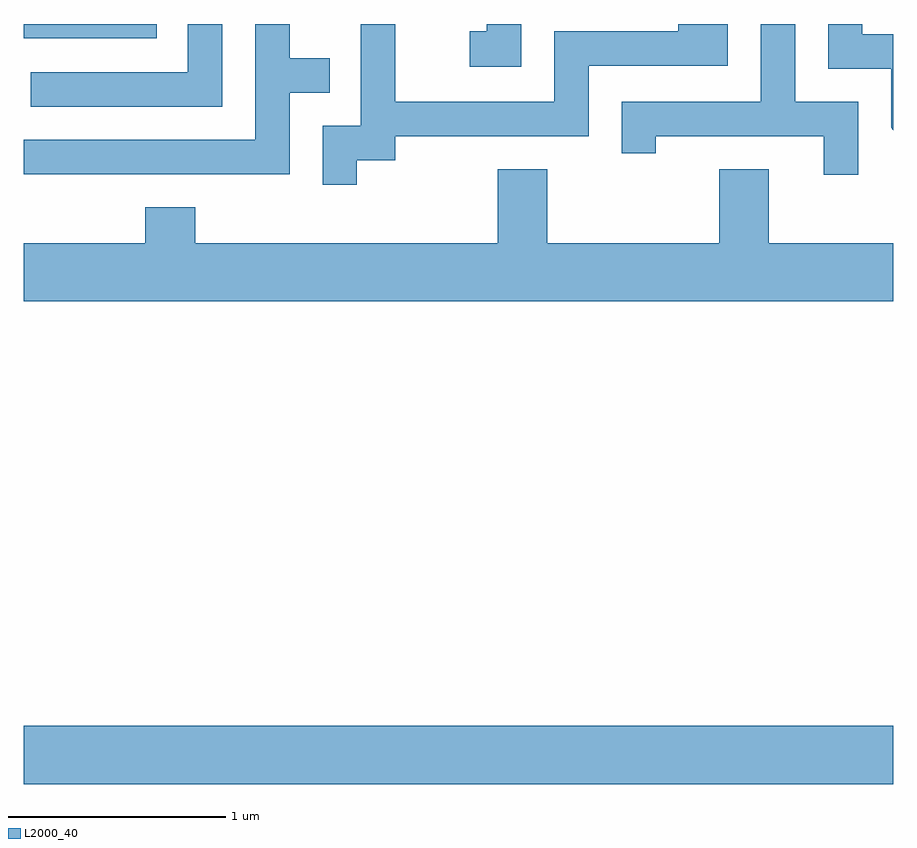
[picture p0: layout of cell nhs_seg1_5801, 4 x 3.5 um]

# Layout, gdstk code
import gdstk
lib = gdstk.Library(unit=1e-6, precision=1e-09)
def R(c, l, rs):  # rectangles x0, y0, x1, y1
    for r in rs: c.add(gdstk.rectangle(r[:2], r[2:], *l))
def P(c, l, *ps):  # polygons
    for p in ps: c.add(gdstk.Polygon(p, *l))
L2000_40 = (2000, 40)

nhs_seg1_5801 = lib.new_cell('nhs_seg1_5801')
R(nhs_seg1_5801, L2000_40, [(359.611,926.216,363.611,926.484), (359.611,929.646,360.223,929.712)])
P(nhs_seg1_5801, L2000_40, [(361.899,929.712),(361.741,929.712),(361.741,929.679),(361.663,929.679),(361.663,929.516),(361.899,929.516)],
  [(363.449,929.354),(363.159,929.354),(363.159,929.712),(363.001,929.712),(363.001,929.354),(362.361,929.354),(362.361,929.118),(362.519,929.118),(362.519,929.196),(363.291,929.196),(363.291,929.018),(363.449,929.018)],
  [(363.611,929.664),(363.469,929.664),(363.469,929.712),(363.311,929.712),(363.311,929.506),(363.601,929.506),(363.601,929.234),(363.611,929.224)],
  [(360.834,929.396),(361.018,929.396),(361.018,929.554),(360.834,929.554),(360.834,929.712),(360.676,929.712),(360.676,929.179),(359.611,929.179),(359.611,929.021),(360.834,929.021)],
  [(360.524,929.712),(360.366,929.712),(360.366,929.489),(359.643,929.489),(359.643,929.331),(360.524,929.331)],
  [(361.144,929.086),(361.319,929.086),(361.319,929.196),(362.209,929.196),(362.209,929.521),(362.849,929.521),(362.849,929.712),(362.621,929.712),(362.621,929.679),(362.051,929.679),(362.051,929.354),(361.319,929.354),(361.319,929.712),(361.161,929.712),(361.161,929.244),(360.986,929.244),(360.986,928.973),(361.144,928.973)],
  [(363.611,928.704),(363.039,928.704),(363.039,929.044),(362.811,929.044),(362.811,928.704),(362.019,928.704),(362.019,929.044),(361.791,929.044),(361.791,928.704),(360.399,928.704),(360.399,928.869),(360.171,928.869),(360.171,928.704),(359.611,928.704),(359.611,928.436),(363.611,928.436)])

lib.write_gds('nhs_seg1_5801.gds')
